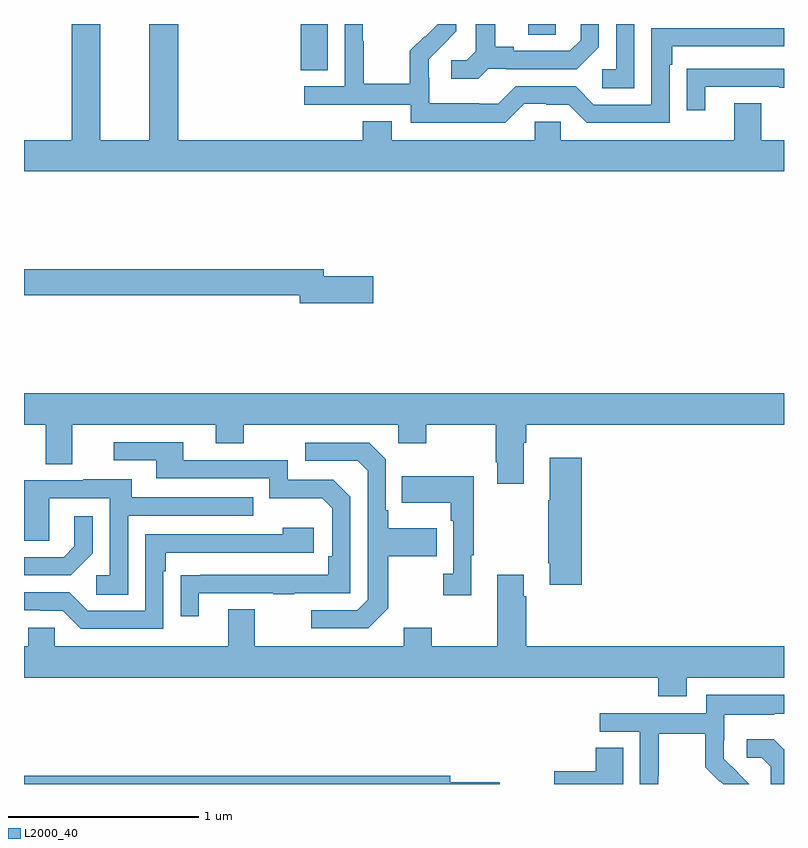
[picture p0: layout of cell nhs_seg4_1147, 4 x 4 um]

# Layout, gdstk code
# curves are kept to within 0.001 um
import gdstk
lib = gdstk.Library(unit=1e-6, precision=1e-09)
def R(c, l, rs):  # rectangles x0, y0, x1, y1
    for r in rs: c.add(gdstk.rectangle(r[:2], r[2:], *l))
def P(c, l, *ps):  # polygons
    for p in ps: c.add(gdstk.Polygon(p, *l))
L2000_40 = (2000, 40)

nhs_seg4_1147 = lib.new_cell('nhs_seg4_1147')
R(nhs_seg4_1147, L2000_40, [(170.456,826.657,170.599,826.9), (171.653,826.843,171.798,826.9)])
P(nhs_seg4_1147, L2000_40, [(172.212,826.9),(172.116,826.9),(172.116,826.662),(172.044,826.662),(172.044,826.561),(172.212,826.561)],
  [(173,826.288),(172.879,826.288),(172.879,826.483),(172.739,826.483),(172.739,826.288),(171.825,826.288),(171.825,826.386),(171.687,826.386),(171.687,826.288),(170.935,826.288),(170.935,826.387),(170.783,826.387),(170.783,826.288),(169.811,826.288),(169.811,826.9),(169.658,826.9),(169.658,826.288),(169.402,826.288),(169.402,826.9),(169.25,826.9),(169.25,826.288),(169,826.288),(169,826.124),(173,826.124)],
  [(171.444,826.665),(171.538,826.665),(171.538,826.662),(171.91,826.662),(172.026,826.778),(172.026,826.9),(171.929,826.9),(171.929,826.815),(171.872,826.758),(171.577,826.758),(171.577,826.781),(171.481,826.781),(171.481,826.9),(171.377,826.9),(171.377,826.757),(171.33,826.71),(171.249,826.71),(171.249,826.613),(171.392,826.613)],
  [(171.633,826.479),(171.749,826.479),(171.749,826.476),(171.867,826.476),(171.963,826.38),(172.398,826.38),(172.398,826.685),(172.411,826.685),(172.411,826.782),(173,826.782),(173,826.878),(172.302,826.878),(172.302,826.476),(171.999,826.476),(171.903,826.572),(171.588,826.572),(171.495,826.479),(171.395,826.479),(171.395,826.483),(171.132,826.483),(171.132,826.617),(171.13,826.617),(171.13,826.714),(171.276,826.862),(171.276,826.9),(171.178,826.9),(171.111,826.833),(171.108,826.836),(171.031,826.759),(171.031,826.585),(170.787,826.585),(170.787,826.808),(170.784,826.808),(170.784,826.9),(170.688,826.9),(170.688,826.572),(170.475,826.572),(170.475,826.476),(171.036,826.476),(171.036,826.379),(171.533,826.379)],
  [(172.585,826.569),(172.975,826.569),(172.975,826.564),(173,826.564),(173,826.665),(172.591,826.665),(172.591,826.664),(172.489,826.664),(172.489,826.446),(172.585,826.446)],
  [(170.839,825.572),(170.578,825.572),(170.578,825.608),(169,825.608),(169,825.472),(170.45,825.472),(170.45,825.43),(170.839,825.43)],
  [(171.631,824.696),(171.644,824.696),(171.644,824.792),(173,824.792),(173,824.956),(169,824.956),(169,824.792),(169.115,824.792),(169.115,824.584),(169.255,824.584),(169.255,824.792),(170.009,824.792),(170.009,824.693),(170.157,824.693),(170.157,824.792),(170.97,824.792),(170.97,824.693),(171.117,824.693),(171.117,824.792),(171.484,824.792),(171.484,824.593),(171.491,824.593),(171.491,824.481),(171.631,824.481)],
  [(169.921,823.905),(170.311,823.905),(170.311,823.9),(170.423,823.9),(170.423,823.905),(170.718,823.905),(170.718,824.412),(170.628,824.502),(170.388,824.502),(170.388,824.604),(169.837,824.604),(169.837,824.7),(169.473,824.7),(169.473,824.604),(169.697,824.604),(169.697,824.508),(170.292,824.508),(170.292,824.405),(170.569,824.405),(170.622,824.352),(170.622,824.098),(170.602,824.098),(170.602,824.001),(169.825,824),(169.825,823.782),(169.921,823.782)],
  [(170.917,823.825),(170.917,824.098),(171.173,824.098),(171.173,824.245),(170.917,824.245),(170.917,824.341),(170.904,824.341),(170.904,824.61),(170.817,824.697),(170.481,824.697),(170.481,824.601),(170.757,824.601),(170.808,824.55),(170.808,823.869),(170.754,823.815),(170.511,823.815),(170.511,823.719),(170.811,823.719)],
  [(171.935,824.617),(171.767,824.617),(171.767,824.393),(171.76,824.393),(171.76,824.062),(171.767,824.062),(171.767,823.95),(171.935,823.95)],
  [(171.355,824.105),(171.367,824.105),(171.367,824.521),(170.989,824.521),(170.989,824.381),(171.246,824.381),(171.246,824.285),(171.258,824.285),(171.258,824.006),(171.207,824.006),(171.207,823.893),(171.355,823.893)],
  [(169.548,824.313),(170.207,824.313),(170.207,824.409),(169.567,824.409),(169.567,824.503),(169.313,824.503),(169.313,824.499),(169,824.499),(169,824.179),(169.134,824.179),(169.134,824.403),(169.452,824.403),(169.452,823.998),(169.38,823.998),(169.38,823.897),(169.548,823.897)],
  [(169.362,824.114),(169.362,824.308),(169.265,824.308),(169.265,824.151),(169.208,824.094),(169,824.094),(169,823.998),(169.246,823.998)],
  [(169.734,824.021),(169.747,824.021),(169.747,824.118),(170.524,824.118),(170.524,824.248),(170.363,824.248),(170.363,824.214),(169.638,824.214),(169.638,823.812),(169.335,823.812),(169.239,823.908),(169,823.908),(169,823.815),(169.085,823.815),(169.085,823.812),(169.203,823.812),(169.299,823.716),(169.734,823.716)],
  [(172.489,823.46),(173,823.46),(173,823.624),(171.644,823.624),(171.644,823.889),(171.631,823.889),(171.631,824.002),(171.491,824.002),(171.491,823.624),(171.147,823.624),(171.147,823.723),(170.999,823.723),(170.999,823.624),(170.215,823.624),(170.215,823.819),(170.075,823.819),(170.075,823.624),(169.161,823.624),(169.161,823.722),(169.023,823.722),(169.023,823.624),(169,823.624),(169,823.46),(172.337,823.46),(172.337,823.361),(172.489,823.361)],
  [(172.338,822.94),(172.341,822.94),(172.341,823.164),(172.585,823.164),(172.585,822.989),(172.662,822.912),(172.665,822.915),(172.68,822.9),(172.816,822.9),(172.684,823.034),(172.684,823.131),(172.686,823.131),(172.686,823.265),(172.949,823.265),(172.949,823.269),(173,823.269),(173,823.369),(172.59,823.369),(172.59,823.272),(172.029,823.272),(172.029,823.176),(172.242,823.176),(172.242,822.9),(172.338,822.9)],
  [(173,823.083),(172.998,823.083),(172.946,823.135),(172.803,823.135),(172.803,823.038),(172.884,823.038),(172.931,822.991),(172.931,822.9),(173,822.9)],
  [(172.153,823.091),(172.01,823.091),(172.01,822.968),(171.792,822.968),(171.792,822.9),(172.153,822.9)],
  [(171.505,822.908),(171.244,822.908),(171.244,822.944),(169,822.944),(169,822.9),(171.505,822.9)])

lib.write_gds('nhs_seg4_1147.gds')
